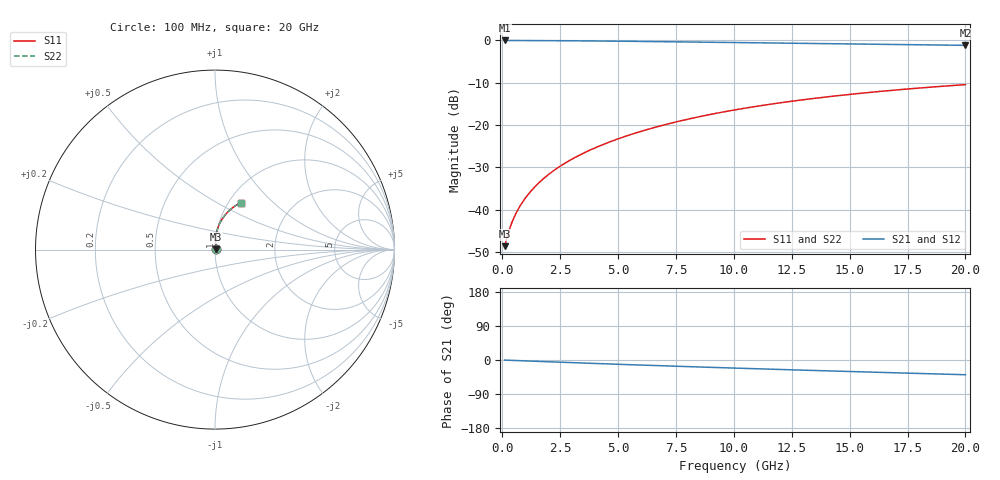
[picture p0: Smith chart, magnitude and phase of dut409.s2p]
! Touchstone file exported from HFSS 2024.1.0
!  File:  C:/UserFiles/LocalFiles/RDL_TSV_Batchsim/temp_RDL_top_409_1779675545.aedt
!  Generated:  10:21:11 AM May 25, 2026
!  Design:  RDL_top
!  Project:  temp_RDL_top_409_1779675545
!  Setup:  Setup1
!  Solution:  Sweep
! Variables:
!  dtsv = 10.80580581um
!  hbump = 3um
!  htsv = 56.25um
!  ldown = 100um
!  lrdl = 603.4um
!  p = 40
!  p1 = 41.38um
!  rhole = 1um
!  t = 450um
!  tdown = 3.915915916um
!  trdl = 2.9um
!  wdown = 15.38538539um
!  wrdl = 23.55um
# GHz S MA R 50.000000
! Terminal data exported
! Port[1] = Box2_T1
! Port[2] = Box2_T2
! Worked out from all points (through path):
!   200 points, 100 MHz to 20 GHz, reference 50 ohm
!   highest |S21| = -0.03 dB at 100 MHz (marker M1); lowest = -1.2 dB at 20 GHz (marker M2)
!   group delay of S21, straight-line fit = 5.34 ps
!   lowest |S11| = -48.6 dB at 100 MHz (marker M3), VSWR 1.01, Z = 50.3 + j0.156 ohm
!   |S11| at or under -10 dB: start of sweep to end of sweep
!   |S22| runs from -48.6 to -10.5 dB; largest |S21 - S12| = 3.5e-15
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0.1  0.003724 24.7  0.9966 -0.3  0.9966 -0.3  0.003724 24.7
! Gamma 0 0 0 0
! Port Impedance 50 0 50 0
0.3  0.005785 49.6  0.9962 -0.7  0.9962 -0.7  0.005785 49.6
0.4  0.006925 55.5  0.9959 -1.0  0.9959 -1.0  0.006925 55.5
0.5  0.008059 59.7  0.9957 -1.2  0.9957 -1.2  0.008059 59.7
0.6  0.009191 63.0  0.9955 -1.4  0.9955 -1.4  0.009191 63.0
0.8  0.01147 68.0  0.9951 -1.9  0.9951 -1.9  0.01147 68.0
1  0.0138 71.6  0.9946 -2.4  0.9946 -2.4  0.0138 71.6
1.2  0.01618 74.4  0.9942 -2.8  0.9942 -2.8  0.01618 74.4
1.7  0.02235 78.9  0.9929 -4.0  0.9929 -4.0  0.02235 78.9
2.2  0.02876 81.7  0.9913 -5.1  0.9913 -5.1  0.02876 81.7
2.8  0.03677 83.7  0.989 -6.5  0.989 -6.5  0.03677 83.7
3.5  0.04652 85.0  0.9857 -8.0  0.9857 -8.0  0.04652 85.0
4.2  0.05669 85.6  0.9819 -9.6  0.9819 -9.6  0.05668 85.6
5  0.06878 85.7  0.9771 -11.3  0.9771 -11.3  0.06877 85.7
5.9  0.08287 85.3  0.9713 -13.2  0.9713 -13.2  0.08286 85.3
6.8  0.09738 84.4  0.9652 -15.1  0.9652 -15.1  0.09736 84.4
8.4  0.1238 82.2  0.9538 -18.2  0.9538 -18.2  0.1237 82.2
10.1  0.152 79.4  0.9416 -21.5  0.9416 -21.5  0.152 79.4
11.7  0.1782 76.4  0.9301 -24.5  0.9301 -24.5  0.1782 76.4
13.4  0.2054 73.2  0.9181 -27.6  0.9181 -27.6  0.2054 73.2
16.7  0.2552 66.9  0.8951 -33.3  0.8951 -33.3  0.2551 66.9
20  0.3002 60.9  0.8727 -38.9  0.8727 -38.9  0.3002 60.9
